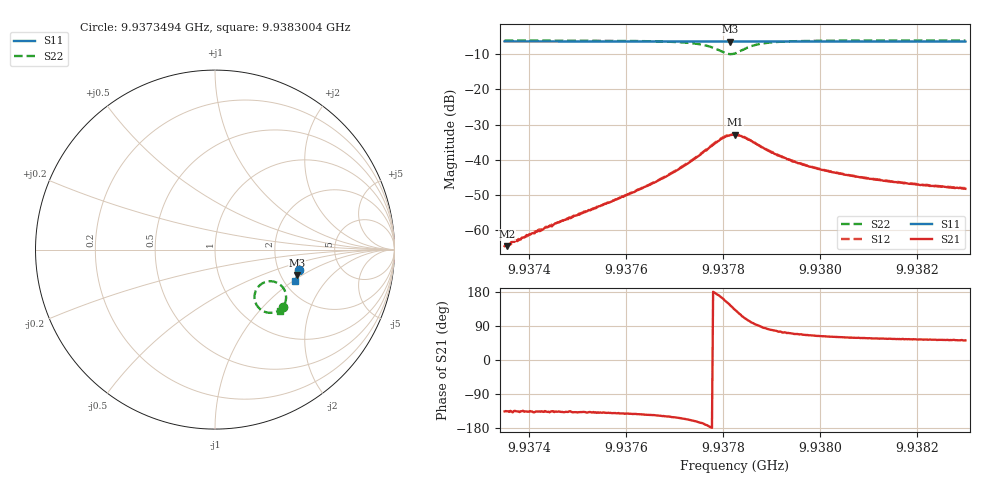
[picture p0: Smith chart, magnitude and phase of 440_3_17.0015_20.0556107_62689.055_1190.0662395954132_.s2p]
#  HZ  S  RI  R  50.00
! Rohde & Schwarz Vector Network Analyzer
! Rohde-Schwarz,ZNB20-2Port,1311601062101988,3.16
! Created: UTC 3/20/2024, 11:11:50 PM
! freq[Hz]  re:S11  im:S11  re:S21  im:S21  re:S12  im:S12  re:S22  im:S22
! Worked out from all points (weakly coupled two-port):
!   401 points, 9.9373494 GHz to 9.9383004 GHz, reference 50 ohm
!   highest |S21| = -32.85 dB at 9.9378249 GHz (marker M1); lowest = -64.6 dB at 9.9373542 GHz (marker M2)
!   lowest |S11| = -6.4 dB at 9.9378154 GHz (marker M3), VSWR 2.84, Z = 123 - j44.9 ohm
!   |S11| at or under -10 dB: nowhere
!   |S22| runs from -10.0 to -6.1 dB; largest |S21 - S12| = 0.00098
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9.93734943e9  0.4703 -0.1118  -0.000424 -0.000414  -0.00045 -0.000406  0.3811 -0.3199
9.93735418e9  0.4702 -0.1121  -0.00042 -0.000415  -0.000415 -0.000436  0.3806 -0.3205
9.93736844e9  0.4699 -0.1131  -0.000476 -0.000482  -0.000493 -0.000485  0.3796 -0.3214
9.93737795e9  0.4697 -0.1137  -0.000512 -0.000501  -0.000544 -0.000514  0.3787 -0.3222
9.93741599e9  0.4688 -0.1163  -0.000677 -0.000661  -0.000701 -0.000669  0.3756 -0.3251
9.93750871e9  0.4668 -0.1227  -0.00127 -0.00117  -0.00131 -0.00119  0.3658 -0.3327
9.93758003e9  0.4653 -0.1273  -0.00212 -0.00174  -0.00213 -0.00171  0.3552 -0.3395
9.93766799e9  0.463 -0.1331  -0.00431 -0.00282  -0.00439 -0.00276  0.3322 -0.3493
9.93772267e9  0.4613 -0.1369  -0.00769 -0.00345  -0.00792 -0.00337  0.3015 -0.3522
9.93776308e9  0.4597 -0.1395  -0.0133 -0.00229  -0.0135 -0.00218  0.2584 -0.3368
9.93779636e9  0.458 -0.1408  -0.0192 0.00501  -0.0194 0.0055  0.2202 -0.2716
9.93781538e9  0.4574 -0.1413  -0.0182 0.0133  -0.0182 0.014  0.2395 -0.209
9.93782489e9  0.4576 -0.1412  -0.0154 0.0168  -0.015 0.0175  0.2674 -0.1864
9.93784153e9  0.4579 -0.1419  -0.00859 0.0191  -0.00809 0.0199  0.3232 -0.1777
9.93785817e9  0.4581 -0.143  -0.003 0.0183  -0.00268 0.0186  0.3631 -0.1956
9.93787719e9  0.4581 -0.1445  0.000406 0.0155  0.000843 0.0157  0.3857 -0.2225
9.93791047e9  0.4577 -0.147  0.0027 0.0115  0.00298 0.0116  0.3964 -0.2585
9.93793425e9  0.4573 -0.1488  0.0032 0.00968  0.00338 0.00963  0.3958 -0.2754
9.93798417e9  0.4558 -0.1523  0.00334 0.00709  0.00354 0.00709  0.3906 -0.2975
9.93805311e9  0.4541 -0.1569  0.00309 0.00526  0.00323 0.0053  0.3823 -0.3141
9.93814345e9  0.4518 -0.1628  0.00274 0.00409  0.00288 0.00408  0.3736 -0.3272
9.93830036e9  0.4475 -0.173  0.00239 0.00304  0.00247 0.00307  0.3612 -0.3416
